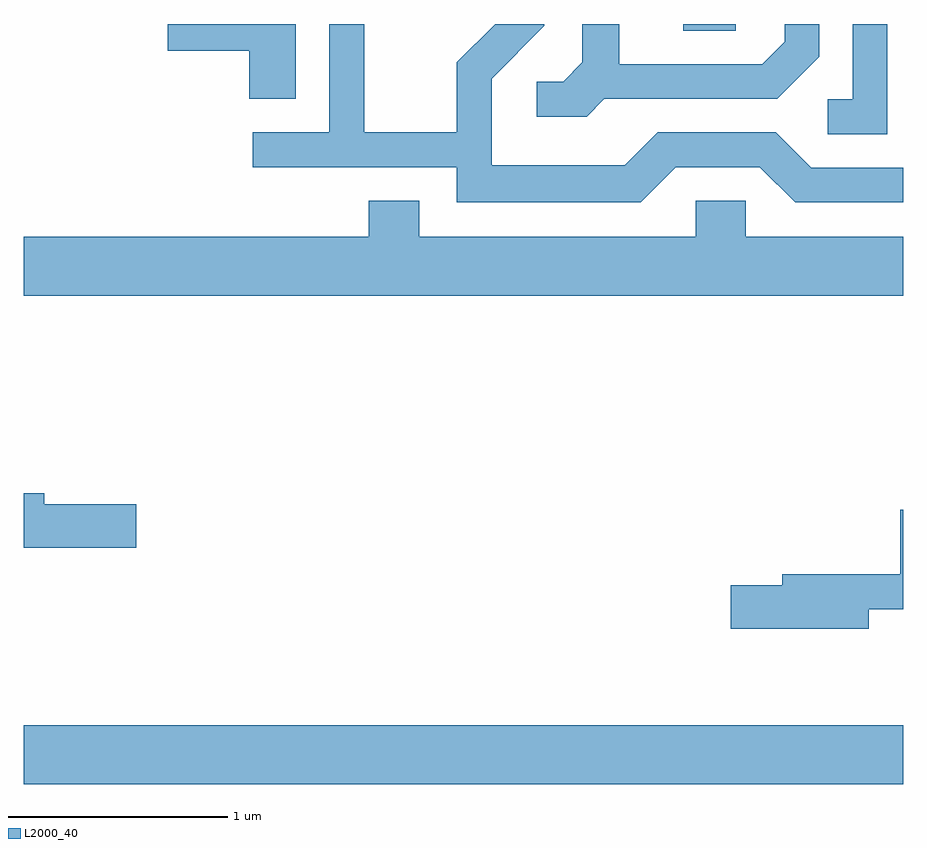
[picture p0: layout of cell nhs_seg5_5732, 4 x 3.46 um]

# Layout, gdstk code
import gdstk
lib = gdstk.Library(unit=1e-6, precision=1e-09)
def R(c, l, rs):  # rectangles x0, y0, x1, y1
    for r in rs: c.add(gdstk.rectangle(r[:2], r[2:], *l))
def P(c, l, *ps):  # polygons
    for p in ps: c.add(gdstk.Polygon(p, *l))
L2000_40 = (2000, 40)

nhs_seg5_5732 = lib.new_cell('nhs_seg5_5732')
R(nhs_seg5_5732, L2000_40, [(355.611,1414.616,359.611,1414.884), (358.611,1418.041,358.849,1418.072)])
P(nhs_seg5_5732, L2000_40, [(359.539,1418.072),(359.381,1418.072),(359.381,1417.729),(359.268,1417.729),(359.268,1417.571),(359.539,1417.571)],
  [(358.577,1417.421),(358.959,1417.421),(359.119,1417.261),(359.611,1417.261),(359.611,1417.419),(359.192,1417.419),(359.032,1417.579),(358.494,1417.579),(358.344,1417.429),(357.739,1417.429),(357.739,1417.824),(357.979,1418.064),(357.979,1418.072),(357.756,1418.072),(357.581,1417.897),(357.581,1417.579),(357.159,1417.579),(357.159,1418.072),(357.001,1418.072),(357.001,1417.579),(356.653,1417.579),(356.653,1417.421),(357.581,1417.421),(357.581,1417.261),(358.417,1417.261)],
  [(358.252,1417.731),(359.037,1417.731),(359.229,1417.924),(359.229,1418.072),(359.071,1418.072),(359.071,1417.992),(358.969,1417.889),(358.319,1417.889),(358.319,1418.072),(358.151,1418.072),(358.151,1417.897),(358.064,1417.809),(357.943,1417.809),(357.943,1417.651),(358.172,1417.651)],
  [(356.849,1418.072),(356.266,1418.072),(356.266,1417.951),(356.636,1417.951),(356.636,1417.731),(356.849,1417.731)],
  [(359.611,1417.104),(358.894,1417.104),(358.894,1417.269),(358.666,1417.269),(358.666,1417.104),(357.409,1417.104),(357.409,1417.269),(357.181,1417.269),(357.181,1417.104),(355.611,1417.104),(355.611,1416.836),(359.611,1416.836)],
  [(356.124,1415.889),(355.704,1415.889),(355.704,1415.939),(355.611,1415.939),(355.611,1415.691),(356.124,1415.691)],
  [(359.454,1415.411),(359.611,1415.411),(359.611,1415.864),(359.596,1415.864),(359.596,1415.569),(359.061,1415.569),(359.061,1415.519),(358.826,1415.519),(358.826,1415.321),(359.454,1415.321)])

lib.write_gds('nhs_seg5_5732.gds')
